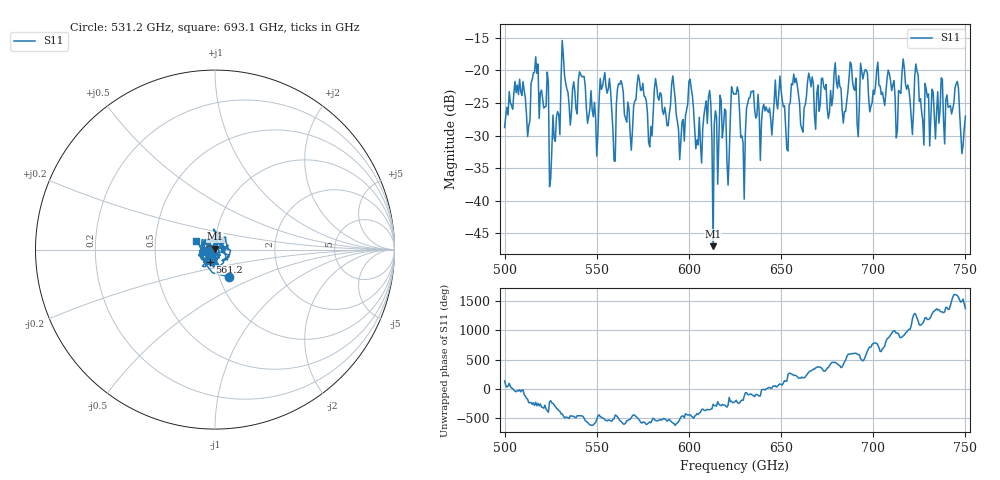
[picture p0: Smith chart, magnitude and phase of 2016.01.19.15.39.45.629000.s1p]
!Created with skrf (http://scikit-rf.org).
# GHz S RI R 50.0
!freq ReS11 ImS11
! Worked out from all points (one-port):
!   401 points, 500 GHz to 750 GHz, reference 50 ohm
!   lowest |S11| = -46.9 dB at 613.1 GHz (marker M1), VSWR 1.01, Z = 49.9 + j0.442 ohm
!   |S11| at or under -10 dB: start of sweep to end of sweep
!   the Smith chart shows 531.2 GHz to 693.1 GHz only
!   S11 on the Smith chart (normalised r, x): 531.2 GHz: 1.11, -0.35; 561.2 GHz: 0.94, -0.13; 693.1 GHz: 0.81, +0.08
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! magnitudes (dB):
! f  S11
! 500 GHz  -28.8
! 506.9 GHz  -22.2
! 512.5 GHz  -30.1
! 516.9 GHz  -17.9
! 525.6 GHz  -32.2
! 531.2 GHz  -15.4
! 561.2 GHz  -22.8
! 562.5 GHz  -22.2
! 568.8 GHz  -32.2
! 573.8 GHz  -23.1
! 578.8 GHz  -31.7
! 582.5 GHz  -22.4
! 593.8 GHz  -27.9
! 600.6 GHz  -21.4
! 613.1 GHz  -46.9
! 621.2 GHz  -37.6
! 625 GHz  -23.6
! 629.4 GHz  -31.1
! 633.8 GHz  -23.2
! 652.5 GHz  -28.9
! 656.2 GHz  -22.2
! 661.9 GHz  -29.5
! 665.6 GHz  -21.3
! 684.4 GHz  -26.3
! 687.5 GHz  -18.7
! 693.1 GHz  -18.9
! 718.8 GHz  -22.2
! 750 GHz  -27.0
